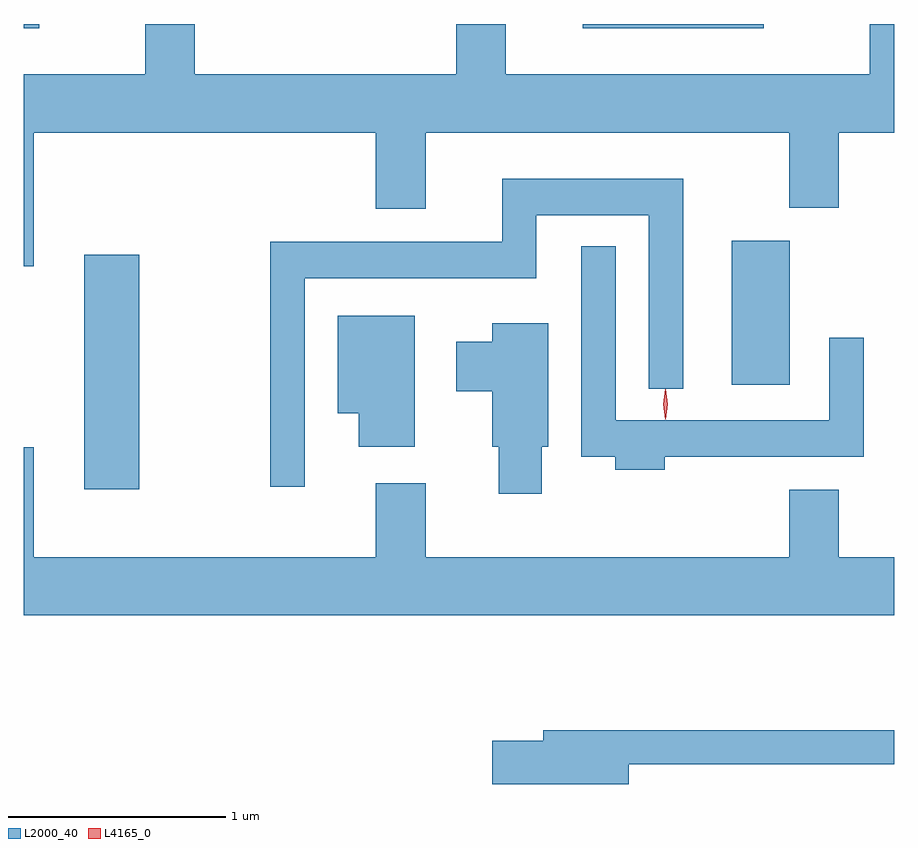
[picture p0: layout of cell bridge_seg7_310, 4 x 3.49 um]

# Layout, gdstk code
import gdstk
lib = gdstk.Library(unit=1e-6, precision=1e-09)
def R(c, l, rs):  # rectangles x0, y0, x1, y1
    for r in rs: c.add(gdstk.rectangle(r[:2], r[2:], *l))
def P(c, l, *ps):  # polygons
    for p in ps: c.add(gdstk.Polygon(p, *l))
L2000_40 = (2000, 40)
L4165_0 = (4165, 0)

bridge_seg7_310 = lib.new_cell('bridge_seg7_310')
R(bridge_seg7_310, L2000_40, [(1156.891,1743.756,1157.144,1744.834), (1159.866,1744.236,1160.134,1744.899), (1156.613,1745.876,1156.684,1745.895), (1159.181,1745.876,1160.014,1745.895)])
P(bridge_seg7_310, L2000_40, [(1156.659,1745.396),(1158.231,1745.396),(1158.231,1745.046),(1158.459,1745.046),(1158.459,1745.396),(1160.131,1745.396),(1160.131,1745.051),(1160.359,1745.051),(1160.359,1745.396),(1160.613,1745.396),(1160.613,1745.895),(1160.501,1745.895),(1160.501,1745.664),(1158.829,1745.664),(1158.829,1745.895),(1158.601,1745.895),(1158.601,1745.664),(1157.399,1745.664),(1157.399,1745.895),(1157.171,1745.895),(1157.171,1745.664),(1156.613,1745.664),(1156.613,1744.781),(1156.659,1744.781)],
  [(1157.904,1744.726),(1158.969,1744.726),(1158.969,1745.016),(1159.486,1745.016),(1159.486,1744.218),(1159.644,1744.218),(1159.644,1745.184),(1158.811,1745.184),(1158.811,1744.894),(1157.746,1744.894),(1157.746,1743.768),(1157.904,1743.768)],
  [(1159.559,1743.906),(1160.474,1743.906),(1160.474,1744.453),(1160.316,1744.453),(1160.316,1744.074),(1159.334,1744.074),(1159.334,1744.873),(1159.176,1744.873),(1159.176,1743.906),(1159.331,1743.906),(1159.331,1743.846),(1159.559,1743.846)],
  [(1158.409,1744.554),(1158.056,1744.554),(1158.056,1744.106),(1158.151,1744.106),(1158.151,1743.951),(1158.409,1743.951)],
  [(1158.994,1743.951),(1159.024,1743.951),(1159.024,1744.519),(1158.766,1744.519),(1158.766,1744.434),(1158.601,1744.434),(1158.601,1744.206),(1158.766,1744.206),(1158.766,1743.951),(1158.796,1743.951),(1158.796,1743.736),(1158.994,1743.736)],
  [(1160.613,1743.444),(1160.359,1743.444),(1160.359,1743.754),(1160.131,1743.754),(1160.131,1743.444),(1158.459,1743.444),(1158.459,1743.784),(1158.231,1743.784),(1158.231,1743.444),(1156.659,1743.444),(1156.659,1743.949),(1156.613,1743.949),(1156.613,1743.176),(1160.613,1743.176)],
  [(1159.394,1742.491),(1160.613,1742.491),(1160.613,1742.649),(1159.001,1742.649),(1159.001,1742.599),(1158.766,1742.599),(1158.766,1742.401),(1159.394,1742.401)])
P(bridge_seg7_310, L4165_0, [(1159.562,1744.077),(1159.562,1744.078),(1159.552,1744.147),(1159.562,1744.216),(1159.562,1744.216),(1159.563,1744.216),(1159.572,1744.147),(1159.563,1744.078)])

lib.write_gds('bridge_seg7_310.gds')
